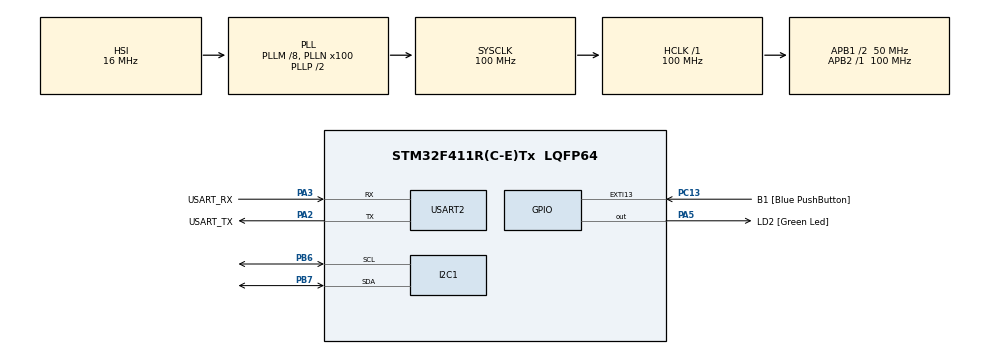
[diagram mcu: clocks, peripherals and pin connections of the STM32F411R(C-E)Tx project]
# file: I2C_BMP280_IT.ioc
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Mcu.Family=STM32F4
Mcu.Name=STM32F411R(C-E)Tx
Mcu.Package=LQFP64
NVIC.I2C1_ER_IRQn=true\:0\:0\:false\:false\:true\:true\:true\:true
NVIC.I2C1_EV_IRQn=true\:0\:0\:false\:false\:true\:true\:true\:true
NVIC.PriorityGroup=NVIC_PRIORITYGROUP_0
PA13.GPIO_Label=TMS
PA13.Mode=Serial_Wire
PA13.Signal=SYS_JTMS-SWDIO
PA14.GPIO_Label=TCK
PA14.Mode=Serial_Wire
PA14.Signal=SYS_JTCK-SWCLK
PA2.GPIO_Label=USART_TX
PA2.Mode=Asynchronous
PA2.Signal=USART2_TX
PA3.GPIO_Label=USART_RX
PA3.Mode=Asynchronous
PA3.Signal=USART2_RX
PA5.GPIO_Label=LD2 [Green Led]
PA5.Signal=GPIO_Output
PB3.GPIO_Label=SWO
PB3.Signal=SYS_JTDO-SWO
PB6.Mode=I2C
PB6.Signal=I2C1_SCL
PB7.Mode=I2C
PB7.Signal=I2C1_SDA
PC13-ANTI_TAMP.GPIO_Label=B1 [Blue PushButton]
PC13-ANTI_TAMP.GPIO_ModeDefaultEXTI=GPIO_MODE_IT_FALLING
PC13-ANTI_TAMP.Signal=GPXTI13
PC14-OSC32_IN.Mode=LSE-External-Oscillator
PC14-OSC32_IN.Signal=RCC_OSC32_IN
PC15-OSC32_OUT.Mode=LSE-External-Oscillator
PC15-OSC32_OUT.Signal=RCC_OSC32_OUT
PH0\ -\ OSC_IN.Mode=HSE-External-Clock-Source
PH0\ -\ OSC_IN.Signal=RCC_OSC_IN
PH1\ -\ OSC_OUT.Mode=HSE-External-Clock-Source
PH1\ -\ OSC_OUT.Signal=RCC_OSC_OUT
ProjectManager.HeapSize=0x200
ProjectManager.StackSize=0x400
ProjectManager.TargetToolchain=STM32CubeIDE
RCC.48MHZClocksFreq_Value=50000000
RCC.AHBFreq_Value=100000000
RCC.APB1CLKDivider=RCC_HCLK_DIV2
RCC.APB1Freq_Value=50000000
RCC.APB1TimFreq_Value=100000000
RCC.APB2Freq_Value=100000000
RCC.APB2TimFreq_Value=100000000
RCC.CortexFreq_Value=100000000
RCC.FLatency-AdvancedSettings=FLASH_LATENCY_3
RCC.HCLKFreq_Value=100000000
RCC.HSE_VALUE=8000000
RCC.HSI_VALUE=16000000
RCC.PLLM=8
RCC.PLLN=100
RCC.SYSCLKFreq_VALUE=100000000
RCC.SYSCLKSource=RCC_SYSCLKSOURCE_PLLCLK
RCC.VCOOutputFreq_Value=200000000
USART2.VirtualMode=VM_ASYNC
board=NUCLEO-F411RE

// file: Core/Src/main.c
/* USER CODE BEGIN Header */
/**
  ******************************************************************************
  * @file           : main.c
  * @brief          : Main program body
  ******************************************************************************
  * @attention
  *
  * Copyright (c) 2026 STMicroelectronics.
  * All rights reserved.
  *
  * This software is licensed under terms that can be found in the LICENSE file
  * in the root directory of this software component.
  * If no LICENSE file comes with this software, it is provided AS-IS.
  *
  ******************************************************************************
  */
/* USER CODE END Header */
#include "main.h"
#include "i2c.h"
#include "usart.h"
#include "gpio.h"

/* USER CODE BEGIN Includes */
#include "Driver_BMP280.h"
#include "float_to_string.h"
#include <string.h>
#include <stdio.h>
/* USER CODE END Includes */

/* USER CODE BEGIN PTD */
bmp280_t bmp;
/* USER CODE END PTD */

void SystemClock_Config(void);

/* USER CODE BEGIN 0 */
status_dev BMP280_I2C_Read(uint8_t dev, uint8_t reg, uint8_t *buf, uint16_t len)
{
    if (HAL_I2C_Mem_Read_IT(&hi2c1, dev, reg,
                         I2C_MEMADD_SIZE_8BIT,
                         buf, len, 100) == HAL_OK)

        return STATUS_OK;
    return STATUS_ERR;
}

status_dev BMP280_I2C_Write(uint8_t dev, uint8_t reg, uint8_t *buf, uint16_t len)
{
    if (HAL_I2C_Mem_Write_IT(&hi2c1, dev, reg,
                          I2C_MEMADD_SIZE_8BIT,
                          buf, len, 100) == HAL_OK)
        return STATUS_OK;
    return STATUS_ERR;
}

void BMP280_InitObject(void)
{
    bmp.dev_addr = BMP280_ADDR_LOW;
    bmp.read_reg = BMP280_I2C_Read;
    bmp.write_reg = BMP280_I2C_Write;
    bmp.delay    = HAL_Delay;

    BMP280_Init(&bmp);
}

/* USER CODE END 0 */

int main(void)
{

  /* MCU Configuration--------------------------------------------------------*/

  /* Reset of all peripherals, Initializes the Flash interface and the Systick. */
  HAL_Init();

  /* Configure the system clock */
  SystemClock_Config();

  /* Initialize all configured peripherals */
  MX_GPIO_Init();
  MX_I2C1_Init();
  MX_USART2_UART_Init();
  /* USER CODE BEGIN 2 */
  BMP280_InitObject();
  /* USER CODE END 2 */

  /* Infinite loop */
  while (1)
  {

    /* USER CODE BEGIN 3 */
	  float t = BMP280_ReadTemperature(&bmp);
	   float p = BMP280_ReadPressure(&bmp);

	   char ts[16], ps[16];
	      float_to_string(ts, t);
	      float_to_string(ps, p);

	      char msg[64];
	      sprintf(msg, "%s,%s\r\n", ts, ps);

	      HAL_UART_Transmit(&huart2, (uint8_t*)msg, strlen(msg), 100);

	      HAL_Delay(500);
  }
  /* USER CODE END 3 */
}

void SystemClock_Config(void)
{
  RCC_OscInitTypeDef RCC_OscInitStruct = {0};
  RCC_ClkInitTypeDef RCC_ClkInitStruct = {0};

  /** Configure the main internal regulator output voltage
  */
  __HAL_RCC_PWR_CLK_ENABLE();
  __HAL_PWR_VOLTAGESCALING_CONFIG(PWR_REGULATOR_VOLTAGE_SCALE1);

  /** Initializes the RCC Oscillators according to the specified parameters
  * in the RCC_OscInitTypeDef structure.
  */
  RCC_OscInitStruct.OscillatorType = RCC_OSCILLATORTYPE_HSI;
  RCC_OscInitStruct.HSIState = RCC_HSI_ON;
  RCC_OscInitStruct.HSICalibrationValue = RCC_HSICALIBRATION_DEFAULT;
  RCC_OscInitStruct.PLL.PLLState = RCC_PLL_ON;
  RCC_OscInitStruct.PLL.PLLSource = RCC_PLLSOURCE_HSI;
  RCC_OscInitStruct.PLL.PLLM = 8;
  RCC_OscInitStruct.PLL.PLLN = 100;
  RCC_OscInitStruct.PLL.PLLP = RCC_PLLP_DIV2;
  RCC_OscInitStruct.PLL.PLLQ = 4;
  if (HAL_RCC_OscConfig(&RCC_OscInitStruct) != HAL_OK)
  {
    Error_Handler();
  }

  /** Initializes the CPU, AHB and APB buses clocks
  */
  RCC_ClkInitStruct.ClockType = RCC_CLOCKTYPE_HCLK|RCC_CLOCKTYPE_SYSCLK
                              |RCC_CLOCKTYPE_PCLK1|RCC_CLOCKTYPE_PCLK2;
  RCC_ClkInitStruct.SYSCLKSource = RCC_SYSCLKSOURCE_PLLCLK;
  RCC_ClkInitStruct.AHBCLKDivider = RCC_SYSCLK_DIV1;
  RCC_ClkInitStruct.APB1CLKDivider = RCC_HCLK_DIV2;
  RCC_ClkInitStruct.APB2CLKDivider = RCC_HCLK_DIV1;

  if (HAL_RCC_ClockConfig(&RCC_ClkInitStruct, FLASH_LATENCY_3) != HAL_OK)
  {
    Error_Handler();
  }
}

void Error_Handler(void)
{
  __disable_irq();
  while (1)
  {
  }
}
